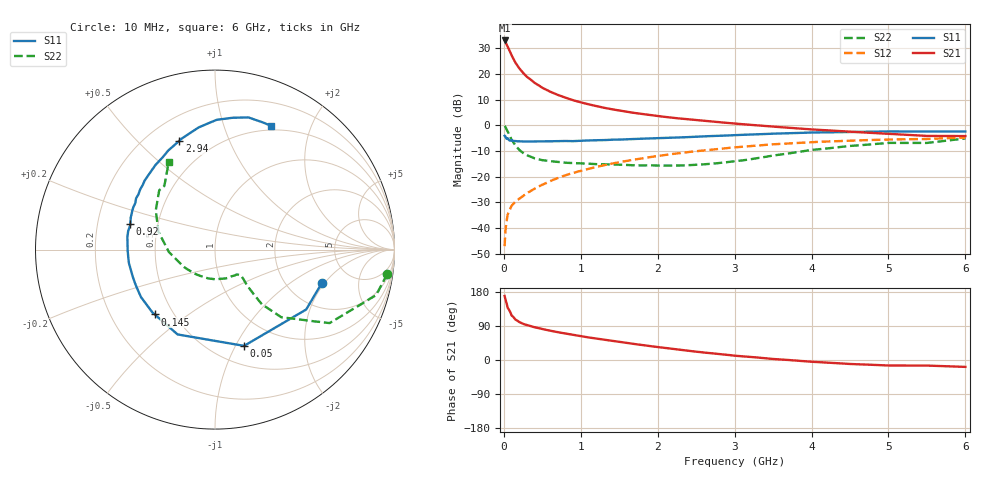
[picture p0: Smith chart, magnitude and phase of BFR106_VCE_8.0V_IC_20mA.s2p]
! Infineon Technologies  Discrete & RF Semiconductors
! BFR106
! VCE =  8.0 V,  IC =  20 mA
! Common Emitter S-Parameters:  Nov 2015
# GHz  S  MA  R  50
!  f  S11  S21  S12  S22
! GHz  MAG  ANG  MAG  ANG  MAG  ANG  MAG  ANG
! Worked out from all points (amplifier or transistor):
!   210 points, 10 MHz to 6 GHz, reference 50 ohm
!   highest |S21| = 33.1 dB at 10 MHz (marker M1)
!   |S21| within 3 dB of that: start of sweep to 59.39 MHz
!   unconditionally stable (mu >= 1): 385.3 MHz to 2.089 GHz
!   at 185 MHz: K = 0.75, MSG = 26.0 dB, |S12| = -29.0 dB
!   at 1.52 GHz: K = 1.06, MAG = 8.5 dB, |S12| = -14.3 dB
!   at 6 GHz: K = 0.99, MSG = 0.3 dB, |S12| = -4.7 dB
!   S11 on the Smith chart (normalised r, x): 10 MHz: 3.10, -1.87; 50 MHz: 0.69, -1.08; 145 MHz: 0.40, -0.38; 920 MHz: 0.35, +0.13; 2.94 GHz: 0.33, +0.67; 6 GHz: 0.45, +1.46
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0.01  0.6241 -17.2  45.13 169.0  0.0044 83.5  0.969 -8.1
0.02  0.6079 -33.3  42.95 160.1  0.0086 78.0  0.9327 -15.8
0.05  0.5602 -73.2  34.27 137.8  0.0181 61.5  0.7581 -32.7
0.1  0.5166 -113.8  23.11 117.8  0.0268 54.4  0.5271 -45.6
0.145  0.4931 -132.9  17.22 108.2  0.0319 54.3  0.414 -48.9
0.15  0.494 -135.1  16.6 106.7  0.0325 54.3  0.4016 -49.4
0.2  0.4899 -147.4  12.95 100.2  0.0366 56.3  0.3333 -49.1
0.24  0.4845 -154.0  10.97 96.5  0.0409 57.5  0.296 -48.6
0.3  0.4825 -162.1  8.825 92.0  0.0472 60.5  0.2611 -47.9
0.4  0.4857 -171.4  6.717 86.4  0.0581 63.6  0.227 -46.0
0.5  0.4866 -178.1  5.4 81.5  0.0693 65.4  0.2092 -44.9
0.6  0.4885 176.3  4.538 77.2  0.0817 65.9  0.2003 -45.5
0.8  0.4946 167.9  3.446 69.7  0.1059 66.5  0.1864 -48.1
0.92  0.4932 163.1  3.025 65.6  0.1201 66.4  0.1828 -50.0
1.02  0.5023 159.1  2.749 62.3  0.1318 66.0  0.1808 -53.0
1.4  0.5247 146.9  2.058 50.8  0.1783 63.2  0.1729 -65.4
2.02  0.5614 129.9  1.504 33.6  0.2549 56.4  0.1639 -94.3
2.94  0.6382 108.2  1.101 12.8  0.3645 44.0  0.1942 -148.3
3.1  0.652 104.9  1.052 9.8  0.3821 41.5  0.207 -157.5
4.1  0.7261 87.8  0.815 -5.7  0.4767 26.1  0.3418 158.7
5.1  0.7584 74.5  0.67 -14.5  0.5323 11.9  0.4535 132.3
6  0.7572 65.5  0.617 -18.2  0.581 1.2  0.5537 117.7
